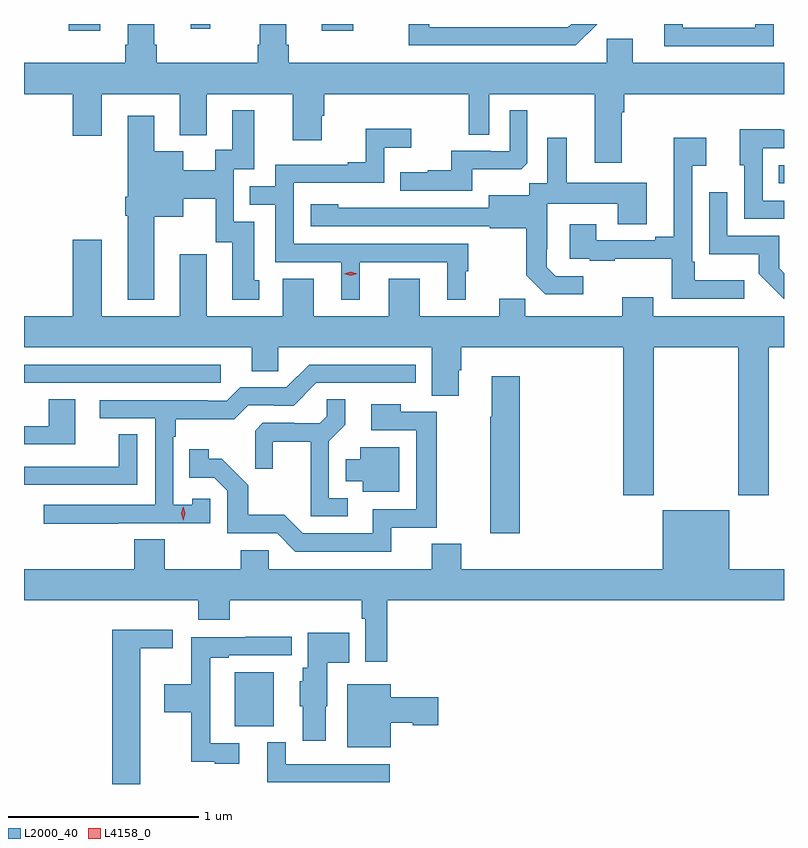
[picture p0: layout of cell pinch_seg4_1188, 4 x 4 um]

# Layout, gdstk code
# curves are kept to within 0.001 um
import gdstk
lib = gdstk.Library(unit=1e-6, precision=1e-09)
def R(c, l, rs):  # rectangles x0, y0, x1, y1
    for r in rs: c.add(gdstk.rectangle(r[:2], r[2:], *l))
def P(c, l, *ps):  # polygons
    for p in ps: c.add(gdstk.Polygon(p, *l))
L2000_40 = (2000, 40)
L4158_0 = (4158, 0)

pinch_seg4_1188 = lib.new_cell('pinch_seg4_1188')
R(pinch_seg4_1188, L2000_40, [(335.825,802.817,336.031,803.101), (334.716,804.624,335.752,804.72), (338.689,805.674,338.716,805.77), (334.952,806.478,335.116,806.513), (336.284,806.478,336.45,806.513), (335.594,806.487,335.696,806.513)])
P(pinch_seg4_1188, L2000_40, [(337.733,806.513),(337.595,806.513),(337.578,806.496),(336.849,806.496),(336.849,806.513),(336.741,806.513),(336.741,806.4),(337.62,806.4)],
  [(337.861,806.048),(337.874,806.048),(337.874,806.144),(338.716,806.144),(338.716,806.308),(337.921,806.308),(337.921,806.435),(337.782,806.435),(337.782,806.308),(336.11,806.308),(336.11,806.404),(336.097,806.404),(336.097,806.513),(335.957,806.513),(335.957,806.404),(335.945,806.404),(335.945,806.308),(335.414,806.308),(335.414,806.404),(335.401,806.404),(335.401,806.513),(335.261,806.513),(335.261,806.404),(335.249,806.404),(335.249,806.308),(334.716,806.308),(334.716,806.144),(334.973,806.144),(334.973,805.926),(335.125,805.926),(335.125,806.144),(335.537,806.144),(335.537,805.928),(335.677,805.928),(335.677,806.144),(336.131,806.144),(336.131,805.902),(336.283,805.902),(336.283,806.031),(336.296,806.031),(336.296,806.144),(337.056,806.144),(337.056,805.93),(337.164,805.93),(337.164,806.144),(337.721,806.144),(337.721,805.782),(337.861,805.782)],
  [(338.661,806.513),(338.565,806.513),(338.565,806.493),(338.184,806.493),(338.184,806.513),(338.087,806.513),(338.087,806.397),(338.661,806.397)],
  [(337.075,805.748),(337.333,805.748),(337.365,805.779),(337.365,806.059),(337.272,806.059),(337.272,805.842),(337.172,805.842),(337.172,805.845),(336.965,805.845),(336.965,805.744),(336.841,805.744),(336.841,805.732),(336.697,805.732),(336.697,805.635),(337.075,805.635)],
  [(335.401,805.499),(335.554,805.499),(335.554,805.592),(335.724,805.592),(335.724,805.365),(335.813,805.365),(335.813,805.062),(335.953,805.062),(335.953,805.164),(335.929,805.164),(335.929,805.473),(335.82,805.473),(335.82,805.749),(335.929,805.749),(335.929,806.059),(335.813,806.059),(335.813,805.85),(335.723,805.85),(335.723,805.744),(335.554,805.744),(335.554,805.843),(335.401,805.843),(335.401,806.029),(335.261,806.029),(335.261,805.603),(335.249,805.603),(335.249,805.503),(335.261,805.503),(335.261,805.061),(335.401,805.061)],
  [(336.484,805.26),(336.944,805.26),(336.944,805.061),(337.042,805.061),(337.042,805.212),(337.054,805.212),(337.054,805.356),(336.135,805.356),(336.135,805.677),(336.612,805.677),(336.612,805.862),(336.754,805.862),(336.754,805.961),(336.514,805.961),(336.514,805.786),(336.419,805.786),(336.419,805.773),(336.039,805.773),(336.039,805.659),(335.905,805.659),(335.905,805.563),(336.039,805.563),(336.039,805.26),(336.386,805.26),(336.386,805.061),(336.484,805.061)],
  [(338.716,805.584),(338.604,805.584),(338.604,805.86),(338.716,805.86),(338.716,805.956),(338.701,805.956),(338.701,805.958),(338.483,805.958),(338.483,805.77),(338.508,805.77),(338.508,805.488),(338.716,805.488)],
  [(338.506,805.165),(338.245,805.165),(338.245,805.261),(338.232,805.261),(338.232,805.766),(338.308,805.766),(338.308,805.915),(338.135,805.915),(338.135,805.393),(338.039,805.393),(338.039,805.374),(337.729,805.374),(337.729,805.459),(337.589,805.459),(337.589,805.278),(337.693,805.278),(337.693,805.266),(337.825,805.266),(337.825,805.277),(338.124,805.277),(338.124,805.068),(338.506,805.068)],
  [(337.66,805.185),(337.515,805.185),(337.468,805.232),(337.468,805.327),(337.47,805.327),(337.47,805.568),(337.841,805.568),(337.841,805.459),(337.993,805.459),(337.993,805.678),(337.573,805.678),(337.573,805.915),(337.469,805.915),(337.469,805.676),(337.374,805.676),(337.374,805.612),(337.163,805.612),(337.163,805.545),(336.369,805.546),(336.369,805.564),(336.225,805.564),(336.225,805.449),(337.167,805.449),(337.167,805.437),(337.359,805.437),(337.359,805.191),(337.459,805.091),(337.66,805.091)],
  [(338.716,805.202),(338.691,805.227),(338.691,805.398),(338.418,805.398),(338.418,805.627),(338.322,805.627),(338.322,805.301),(338.584,805.301),(338.584,805.199),(338.714,805.068),(338.716,805.068)],
  [(338.031,804.812),(338.476,804.812),(338.476,804.033),(338.636,804.033),(338.636,804.812),(338.716,804.812),(338.716,804.976),(338.029,804.976),(338.029,805.075),(337.865,805.075),(337.865,804.976),(337.355,804.976),(337.355,805.067),(337.217,805.067),(337.217,804.976),(336.799,804.976),(336.799,805.171),(336.635,805.171),(336.635,804.976),(336.241,804.976),(336.241,805.171),(336.077,805.171),(336.077,804.976),(335.677,804.976),(335.677,805.3),(335.537,805.3),(335.537,804.976),(335.125,804.976),(335.125,805.378),(334.973,805.378),(334.973,804.976),(334.716,804.976),(334.716,804.812),(335.915,804.812),(335.915,804.685),(336.054,804.685),(336.054,804.812),(336.863,804.812),(336.863,804.556),(337.003,804.556),(337.003,804.69),(337.016,804.69),(337.016,804.812),(337.871,804.812),(337.871,804.033),(338.031,804.033)],
  [(335.213,803.886),(335.697,803.886),(335.697,804.015),(335.601,804.015),(335.601,803.983),(335.502,803.983),(335.502,804.341),(335.515,804.341),(335.515,804.434),(335.822,804.434),(335.895,804.507),(336.034,804.507),(336.034,804.504),(336.135,804.504),(336.255,804.624),(336.778,804.624),(336.778,804.72),(336.216,804.72),(336.096,804.6),(335.853,804.6),(335.784,804.531),(335.684,804.531),(335.684,804.534),(335.115,804.534),(335.115,804.438),(335.406,804.438),(335.406,803.982),(334.821,803.982),(334.821,803.884),(335.213,803.884)],
  [(337.325,804.658),(337.178,804.658),(337.178,804.445),(337.171,804.445),(337.171,803.832),(337.325,803.832)],
  [(336.421,804.018),(336.321,804.018),(336.321,804.317),(336.407,804.403),(336.407,804.539),(336.309,804.539),(336.309,804.448),(336.272,804.411),(336.138,804.411),(336.138,804.414),(335.973,804.414),(335.932,804.373),(335.932,804.171),(336.026,804.171),(336.026,804.314),(336.224,804.314),(336.224,803.922),(336.421,803.922)],
  [(334.987,804.539),(334.847,804.539),(334.847,804.396),(334.716,804.396),(334.716,804.3),(334.987,804.3)],
  [(336.65,803.862),(336.889,803.862),(336.889,804.471),(336.699,804.471),(336.699,804.511),(336.543,804.511),(336.543,804.375),(336.78,804.375),(336.78,803.958),(336.551,803.958),(336.551,803.832),(336.183,803.832),(336.085,803.931),(335.896,803.931),(335.896,804.086),(335.758,804.224),(335.688,804.224),(335.688,804.274),(335.587,804.274),(335.587,804.126),(335.718,804.126),(335.787,804.057),(335.787,803.832),(336.048,803.832),(336.144,803.736),(336.65,803.736)],
  [(335.313,804.353),(335.215,804.353),(335.215,804.183),(334.819,804.183),(334.819,804.182),(334.716,804.182),(334.716,804.087),(335.313,804.087)],
  [(336.691,804.286),(336.485,804.286),(336.485,804.223),(336.41,804.223),(336.41,804.107),(336.5,804.107),(336.5,804.05),(336.691,804.05)],
  [(336.629,803.48),(338.716,803.48),(338.716,803.644),(338.428,803.644),(338.428,803.953),(338.078,803.953),(338.078,803.644),(337.016,803.644),(337.016,803.777),(336.863,803.777),(336.863,803.644),(336.003,803.644),(336.003,803.742),(335.857,803.742),(335.857,803.644),(335.457,803.644),(335.457,803.801),(335.297,803.801),(335.297,803.644),(334.716,803.644),(334.716,803.48),(335.633,803.48),(335.633,803.378),(335.798,803.378),(335.798,803.48),(336.493,803.48),(336.493,803.384),(336.513,803.384),(336.513,803.157),(336.629,803.157)],
  [(335.329,803.228),(335.5,803.228),(335.5,803.326),(335.18,803.326),(335.18,802.513),(335.329,802.513)],
  [(336.304,802.923),(336.313,802.923),(336.313,803.15),(336.428,803.15),(336.428,803.308),(336.209,803.308),(336.209,803.124),(336.182,803.124),(336.182,803.055),(336.167,803.055),(336.167,802.923),(336.182,802.923),(336.182,802.74),(336.304,802.74)],
  [(335.848,802.728),(335.697,802.728),(335.697,803.178),(335.794,803.178),(335.794,803.19),(336.124,803.19),(336.124,803.288),(335.881,803.288),(335.881,803.286),(335.596,803.286),(335.596,803.038),(335.454,803.038),(335.454,802.891),(335.596,802.891),(335.596,802.631),(335.72,802.631),(335.72,802.62),(335.848,802.62)],
  [(336.646,802.835),(336.762,802.835),(336.762,802.823),(336.895,802.823),(336.895,802.97),(336.646,802.97),(336.646,803.038),(336.416,803.038),(336.416,802.706),(336.646,802.706)],
  [(336.64,802.617),(336.093,802.617),(336.093,802.732),(335.996,802.732),(335.996,802.521),(336.64,802.521)])
P(pinch_seg4_1188, L4158_0, [(335.554,803.901),(335.554,803.902),(335.544,803.937),(335.554,803.973),(335.554,803.973),(335.554,803.973),(335.564,803.937),(335.554,803.902)],
  [(336.435,805.189),(336.399,805.198),(336.399,805.199),(336.399,805.199),(336.435,805.209),(336.471,805.199),(336.471,805.199),(336.471,805.198)])

lib.write_gds('pinch_seg4_1188.gds')
